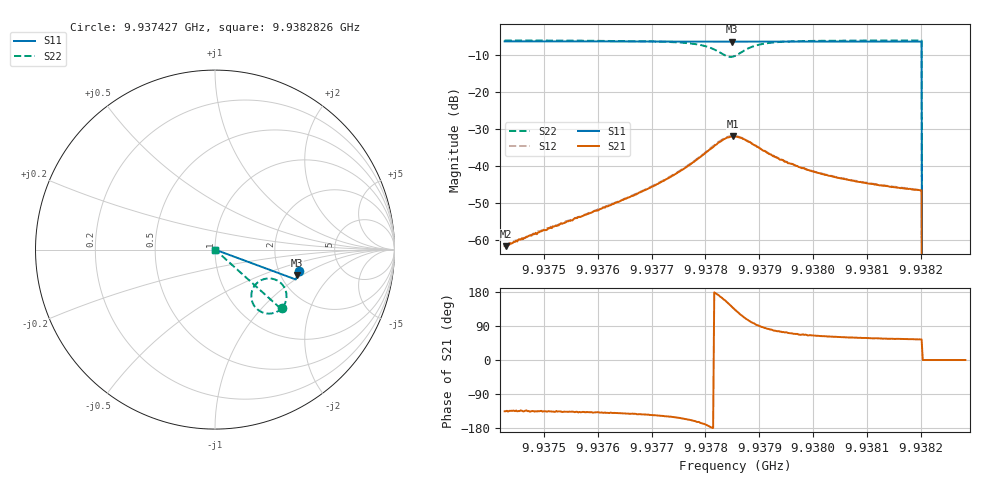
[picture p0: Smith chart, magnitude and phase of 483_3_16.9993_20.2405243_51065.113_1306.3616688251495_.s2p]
#  HZ  S  RI  R  50.00
! Rohde & Schwarz Vector Network Analyzer
! Rohde-Schwarz,ZNB20-2Port,1311601062101988,3.16
! Created: UTC 3/20/2024, 11:13:46 PM
! freq[Hz]  re:S11  im:S11  re:S21  im:S21  re:S12  im:S12  re:S22  im:S22
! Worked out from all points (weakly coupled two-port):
!   401 points, 9.937427 GHz to 9.9382826 GHz, reference 50 ohm
!   highest |S21| = -31.99 dB at 9.9378505 GHz (marker M1); lowest = -61.6 dB at 9.9374291 GHz (marker M2)
!   lowest |S11| = -6.4 dB at 9.9378484 GHz (marker M3), VSWR 2.83, Z = 122 - j45.3 ohm
!   |S11| at or under -10 dB: 9.9382014 GHz to end of sweep
!   |S22| runs from - to -6.1 dB; largest |S21 - S12| = 0.001
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9.93742699e9  0.4687 -0.1167  -0.000596 -0.00059  -0.000608 -0.000618  0.3756 -0.3252
9.93742913e9  0.4686 -0.1171  -0.000588 -0.000583  -0.000612 -0.000603  0.3755 -0.3256
9.93757031e9  0.4655 -0.1265  -0.00154 -0.00142  -0.00161 -0.00142  0.3601 -0.3376
9.93766871e9  0.4632 -0.1332  -0.00324 -0.00252  -0.00334 -0.00247  0.3406 -0.3485
9.93771363e9  0.4619 -0.1362  -0.00493 -0.00321  -0.00504 -0.00322  0.3242 -0.3538
9.93776069e9  0.4604 -0.1394  -0.00843 -0.0039  -0.00867 -0.00386  0.293 -0.3566
9.93779919e9  0.4588 -0.1419  -0.0146 -0.00271  -0.015 -0.00238  0.2435 -0.3389
9.93782914e9  0.457 -0.1431  -0.021 0.0054  -0.0215 0.00622  0.2024 -0.2664
9.93783983e9  0.4565 -0.143  -0.0215 0.0111  -0.0216 0.0119  0.2092 -0.2223
9.93784839e9  0.4564 -0.143  -0.0195 0.0155  -0.0193 0.0166  0.2306 -0.1895
9.93785053e9  0.4565 -0.1429  -0.0188 0.0168  -0.0187 0.0174  0.2381 -0.1827
9.93785481e9  0.4566 -0.1431  -0.0169 0.0185  -0.0167 0.0191  0.2547 -0.1717
9.9378655e9  0.4568 -0.1434  -0.0119 0.021  -0.0111 0.0216  0.2997 -0.1605
9.93788048e9  0.4572 -0.1443  -0.00506 0.0206  -0.00451 0.021  0.3505 -0.1746
9.93790401e9  0.4575 -0.146  0.000757 0.0168  0.00117 0.0169  0.3881 -0.2146
9.93795107e9  0.4568 -0.1496  0.00335 0.0108  0.00381 0.0108  0.3983 -0.2679
9.93799813e9  0.4557 -0.1533  0.0036 0.00771  0.00379 0.00773  0.3927 -0.2934
9.93807086e9  0.4537 -0.158  0.00327 0.00548  0.0034 0.00545  0.383 -0.3137
9.93814145e9  0.452 -0.1626  0.00295 0.00438  0.00306 0.00441  0.3755 -0.325
9.93819706e9  0.4504 -0.1662  0.00276 0.00386  0.00287 0.00382  0.3704 -0.3315
9.93820776e9  0 0  0 0  0 0  0 0
9.93828263e9  0 0  0 0  0 0  0 0
